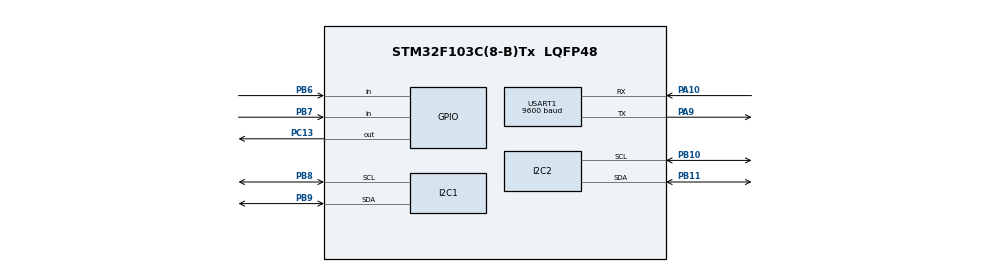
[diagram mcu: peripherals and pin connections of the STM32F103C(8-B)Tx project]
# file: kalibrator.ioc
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Mcu.Family=STM32F1
Mcu.Name=STM32F103C(8-B)Tx
Mcu.Package=LQFP48
NVIC.PriorityGroup=NVIC_PRIORITYGROUP_4
NVIC.USART1_IRQn=true\:3\:0\:true\:false\:true\:true\:true
PA10.Mode=Asynchronous
PA10.Signal=USART1_RX
PA13.Mode=Serial_Wire
PA13.Signal=SYS_JTMS-SWDIO
PA14.Mode=Serial_Wire
PA14.Signal=SYS_JTCK-SWCLK
PA9.Mode=Asynchronous
PA9.Signal=USART1_TX
PB10.Mode=I2C
PB10.Signal=I2C2_SCL
PB11.Mode=I2C
PB11.Signal=I2C2_SDA
PB6.Signal=GPIO_Input
PB7.Signal=GPIO_Input
PB8.Mode=I2C
PB8.Signal=I2C1_SCL
PB9.Mode=I2C
PB9.Signal=I2C1_SDA
PC13-TAMPER-RTC.Signal=GPIO_Output
PD0-OSC_IN.Mode=HSE-External-Oscillator
PD0-OSC_IN.Signal=RCC_OSC_IN
PD1-OSC_OUT.Mode=HSE-External-Oscillator
PD1-OSC_OUT.Signal=RCC_OSC_OUT
ProjectManager.HeapSize=0x200
ProjectManager.StackSize=0x400
ProjectManager.TargetToolchain=STM32CubeIDE
RCC.AHBFreq_Value=60000000
RCC.APB1CLKDivider=RCC_HCLK_DIV2
RCC.APB1Freq_Value=30000000
RCC.APB1TimFreq_Value=60000000
RCC.APB2Freq_Value=60000000
RCC.APB2TimFreq_Value=60000000
RCC.HCLKFreq_Value=60000000
RCC.HSE_Timout=5000
RCC.PLLMUL=RCC_PLL_MUL15
RCC.SYSCLKFreq_VALUE=60000000
RCC.SYSCLKSource=RCC_SYSCLKSOURCE_PLLCLK
RCC.USBFreq_Value=60000000
USART1.BaudRate=9600
USART1.VirtualMode=VM_ASYNC
board=custom

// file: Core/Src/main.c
/* USER CODE BEGIN Header */
/**
 ******************************************************************************
 * @file           : main.c
 * @brief          : Main program body
 ******************************************************************************
 * @attention
 *
 * <h2><center>&copy; Copyright (c) 2020 STMicroelectronics.
 * All rights reserved.</center></h2>
 *
 * This software component is licensed by ST under BSD 3-Clause license,
 * the "License"; You may not use this file except in compliance with the
 * License. You may obtain a copy of the License at:
 *                        opensource.org/licenses/BSD-3-Clause
 *
 ******************************************************************************
 */
/* USER CODE END Header */

#include "main.h"
#include "i2c.h"
#include "usart.h"
#include "gpio.h"

/* USER CODE BEGIN Includes */
#include <string.h>
#include <math.h>
#include <ctype.h>

//#include "usbd_cdc_if.h"

/* USER CODE END Includes */

/* USER CODE BEGIN PD */

#define USER_TEST

#define VALID_COMMAND_LENGTH 10

#define I2C_ADDR_D6 (0b01001100)
#define I2C_ADDR_D5 (0b01001100)
#define I2C_ADDR_D3 (0b01001111)
#define I2C_ADDR_D2 (0b01001101)
#define I2C_ADDR_D1 (0b01001110)

#define I2C_CTRL_A (0b00010000)
#define I2C_CTRL_B (0b00010010)
#define I2C_CTRL_C (0b00010100)
#define I2C_CTRL_D (0b00010110)

#define I2C_PORT_1 (&hi2c1)
#define I2C_PORT_2 (&hi2c2)

/* USER CODE END PD */

/* USER CODE BEGIN PV */
volatile uint8_t command_buffer[50] = { '0', '0', '0', '0', '0', '0', '0', '0',
		'0', '0' };
volatile int command_buffer_pointer = 0;
volatile int command_received = 0;

/* USER CODE END PV */

void SystemClock_Config(void);
/* USER CODE BEGIN PFP */
void STATUS_LED_On(void);
void STATUS_LED_Off(void);
void STATUS_LED_Toggle(void);
int Command_Callback(uint8_t *cmd_in, uint32_t length);
void HAL_UART_RxCpltCallback(UART_HandleTypeDef *huart);

/* USER CODE END PFP */

int main(void) {
	/* USER CODE BEGIN 1 */
	STATUS_LED_Off();

	/* USER CODE END 1 */

	/* MCU Configuration--------------------------------------------------------*/

	/* Reset of all peripherals, Initializes the Flash interface and the Systick. */
	HAL_Init();

	/* USER CODE BEGIN Init */
	HAL_Delay(100);

	/* USER CODE END Init */

	/* Configure the system clock */
	SystemClock_Config();

	/* Initialize all configured peripherals */
	MX_GPIO_Init();
	MX_I2C1_Init();
	MX_I2C2_Init();
	MX_USART1_UART_Init();
	/* USER CODE BEGIN 2 */

	HAL_UART_Receive_IT(&huart1, command_buffer, 1);

	/* Signal to show we're online */
	STATUS_LED_On();

	/* USER CODE END 2 */

	/* Infinite loop */
	/* USER CODE BEGIN WHILE */

	/* ENABLE INTERRUPTS */
	__enable_irq();

	uint8_t num, val;
	uint8_t str[] = "LED_00_000";
	uint8_t matrix[4][5] = {{000, 127, 000, 127, 000},
													{127, 000, 127, 000, 127},
													{000, 127, 000, 127, 000},
													{127, 000, 127, 000, 127}};

	int i, j;

#ifdef USER_TEST
	/* init leds */
	for (i = 0; i < 20; i++) {
		str[4] = i / 10 + '0';
		str[5] = (i % 10) + '0';

		Command_Callback(str, 10);
	}
#endif /* USER_TEST */

	while (1) {
		/* USER CODE END WHILE */

		/* USER CODE BEGIN 3 */
#ifdef USER_TEST
		while (1) {
			for (i = 0; i < 20; i++) {
				str[4] = i / 10 + '0';
				str[5] = (i % 10) + '0';

				for (j = 0; j < 100; j++) {
					str[7] = (j / 100) + '0';
					str[8] = (j % 100 / 10) + '0';
					str[9] = (j % 10) + '0';

					HAL_Delay(4);

					Command_Callback(str, 10);
				}

				for (j = 100; j >= 0; j--) {
					str[7] = (j / 100) + '0';
					str[8] = (j % 100 / 10) + '0';
					str[9] = (j % 10) + '0';

					HAL_Delay(4);

					Command_Callback(str, 10);
				}
			}
		}
	}
#endif /* USER_TEST */

	/* Check if command was received */
	if (command_received) {
		Command_Callback(command_buffer, command_buffer_pointer);

		/* reset the flag */
		command_received = 0;

		/* reset the buffer */
		command_buffer_pointer = 0;
		memset(command_buffer, '0', VALID_COMMAND_LENGTH);
	}

/* USER CODE END 3 */
}

void SystemClock_Config(void) {
RCC_OscInitTypeDef RCC_OscInitStruct = { 0 };
RCC_ClkInitTypeDef RCC_ClkInitStruct = { 0 };

/** Initializes the CPU, AHB and APB busses clocks
 */
RCC_OscInitStruct.OscillatorType = RCC_OSCILLATORTYPE_HSI;
RCC_OscInitStruct.HSIState = RCC_HSI_ON;
RCC_OscInitStruct.HSICalibrationValue = RCC_HSICALIBRATION_DEFAULT;
RCC_OscInitStruct.PLL.PLLState = RCC_PLL_ON;
RCC_OscInitStruct.PLL.PLLSource = RCC_PLLSOURCE_HSI_DIV2;
RCC_OscInitStruct.PLL.PLLMUL = RCC_PLL_MUL15;
if (HAL_RCC_OscConfig(&RCC_OscInitStruct) != HAL_OK) {
	Error_Handler();
}
/** Initializes the CPU, AHB and APB busses clocks
 */
RCC_ClkInitStruct.ClockType = RCC_CLOCKTYPE_HCLK | RCC_CLOCKTYPE_SYSCLK
		| RCC_CLOCKTYPE_PCLK1 | RCC_CLOCKTYPE_PCLK2;
RCC_ClkInitStruct.SYSCLKSource = RCC_SYSCLKSOURCE_PLLCLK;
RCC_ClkInitStruct.AHBCLKDivider = RCC_SYSCLK_DIV1;
RCC_ClkInitStruct.APB1CLKDivider = RCC_HCLK_DIV2;
RCC_ClkInitStruct.APB2CLKDivider = RCC_HCLK_DIV1;

if (HAL_RCC_ClockConfig(&RCC_ClkInitStruct, FLASH_LATENCY_2) != HAL_OK) {
	Error_Handler();
}
}

/* USER CODE BEGIN 4 */
/* Turn on Status LED */
void STATUS_LED_On(void) {
HAL_GPIO_WritePin(GPIOC, GPIO_PIN_13, GPIO_PIN_SET);

return;
}

/* Turn off Status LED */
void STATUS_LED_Off(void) {
HAL_GPIO_WritePin(GPIOC, GPIO_PIN_13, GPIO_PIN_RESET);

return;
}

/* Toggle Status LED */
void STATUS_LED_Toggle(void) {
HAL_GPIO_TogglePin(GPIOC, GPIO_PIN_13);

return;
}

/* Status LED blink Success */
void STATUS_LED_Blink_Success(void) {
/*
 STATUS_LED_Toggle();
 HAL_Delay(100);
 STATUS_LED_Toggle();
 HAL_Delay(100);
 STATUS_LED_Toggle();
 HAL_Delay(100);
 STATUS_LED_Toggle();
 HAL_Delay(100);
 */
}

/* Status LED blink Failure */
void STATUS_LED_Blink_Failure(void) {
/*
 STATUS_LED_Toggle();
 HAL_Delay(100);
 STATUS_LED_Toggle();
 HAL_Delay(100);
 STATUS_LED_Toggle();
 HAL_Delay(100);
 STATUS_LED_Toggle();
 HAL_Delay(100);
 STATUS_LED_Toggle();
 HAL_Delay(100);
 STATUS_LED_Toggle();
 HAL_Delay(100);
 */

}

/* This Callback function is called when data from USB is received */
void CDC_ReceiveCallback_FS(uint8_t *Buf, uint32_t Len) {
/* Set the flag only if we recieved valid number of chars */
if (Len == VALID_COMMAND_LENGTH) {
	memcpy(command_buffer, Buf, Len);
	command_buffer_pointer = Len;
	command_received = 1;
}
}

void HAL_UART_RxCpltCallback(UART_HandleTypeDef *huart) {
if (huart->Instance == USART1) {
	command_buffer_pointer++;

	/* If the beginning of the command buffer is valid */
	if (command_buffer[0] == 'L') {
		/* Don't overrun buffer */
		if (command_buffer_pointer < VALID_COMMAND_LENGTH) {

			HAL_UART_Receive_IT(huart, command_buffer + command_buffer_pointer, 1);

			/* If the buffer is full */
		} else {
			/* set the flag */
			command_received = 1;

			HAL_UART_Receive_IT(huart, command_buffer, 1);
		}
		/* if the beginning of the command buffer is invalid */
	} else {
		/* clear the buffer */
		command_buffer_pointer = 0;
		HAL_UART_Receive_IT(huart, command_buffer, 1);
	}
}

return;
}

int Command_extract_info(uint8_t *string, uint32_t length, uint32_t *led_id,
	uint32_t *led_val) {
if (length < 10) {
	return -1; /* Failure: command too short */
}

/* Check if command has defined structure */
if (string[0] != 'L'||
string[1] != 'E' ||
string[2] != 'D' ||
string[3] != '_' ||
! isdigit(string[4]) ||
! isdigit(string[5]) ||
string[6] != '_' ||
! isdigit(string[7]) ||
! isdigit(string[8]) ||
! isdigit(string[9])
) {

	return -1; /* Failure: wrong command */
}

/* String to led id (int) */
*led_id = (string[4] - '0') * 10 + (string[5] - '0');

/* String to led current (int)*/
*led_val = 100 * (string[7] - '0') + 10 * (string[8] - '0')
		+ 1 * (string[9] - '0');

/* Set upper bound on LED current value */
if (*led_val > 255) {
	*led_val = 255;
}

/* Set upper bound on LEDs */
if (*led_id >= 20) {

	return -1; /* Failure: not so many LEDs available */
}

/* return Success */
return 0;
}

int Command_Callback(uint8_t *cmd_in, uint32_t length) {
uint32_t led_id;
uint32_t led_val;
uint8_t dac_data[3];

/* Command format = LED_XX_ZZZ */

if (Command_extract_info(cmd_in, length, &led_id, &led_val) != 0) {
	/* Failure: can't extract led_id and led_val from input command */
	STATUS_LED_Blink_Failure();
	return -1;
}

/* DAC data setup */
dac_data[0] = 0b00010000; /* control byte */
dac_data[1] = led_val; /* msb byte */
dac_data[2] = 0b00000000; /* lsb byte (dont care byte) */

/* Based on LED Id send command to certain DAC (one of four available) */
switch (led_id) {
case 0:
	dac_data[0] = I2C_CTRL_B;
	HAL_I2C_Master_Transmit(I2C_PORT_1, I2C_ADDR_D6 << 1, dac_data, 3, 100);
	break;
case 1:
	dac_data[0] = I2C_CTRL_C;
	HAL_I2C_Master_Transmit(I2C_PORT_1, I2C_ADDR_D6 << 1, dac_data, 3, 100);
	break;
case 2:
	dac_data[0] = I2C_CTRL_D;
	HAL_I2C_Master_Transmit(I2C_PORT_1, I2C_ADDR_D6 << 1, dac_data, 3, 100);
	break;
case 3:
	dac_data[0] = I2C_CTRL_A;
	HAL_I2C_Master_Transmit(I2C_PORT_1, I2C_ADDR_D6 << 1, dac_data, 3, 100);
	break;
case 4:
	dac_data[0] = I2C_CTRL_A;
	HAL_I2C_Master_Transmit(I2C_PORT_2, I2C_ADDR_D2 << 1, dac_data, 3, 100);
	break;
case 5:
	dac_data[0] = I2C_CTRL_C;
	HAL_I2C_Master_Transmit(I2C_PORT_2, I2C_ADDR_D2 << 1, dac_data, 3, 100);
	break;
case 6:
	dac_data[0] = I2C_CTRL_D;
	HAL_I2C_Master_Transmit(I2C_PORT_2, I2C_ADDR_D2 << 1, dac_data, 3, 100);
	break;
case 7:
	dac_data[0] = I2C_CTRL_A;
	HAL_I2C_Master_Transmit(I2C_PORT_2, I2C_ADDR_D5 << 1, dac_data, 3, 100);
	break;
case 8:
	dac_data[0] = I2C_CTRL_B;
	HAL_I2C_Master_Transmit(I2C_PORT_2, I2C_ADDR_D2 << 1, dac_data, 3, 100);
	break;
case 9:
	dac_data[0] = I2C_CTRL_B;
	HAL_I2C_Master_Transmit(I2C_PORT_2, I2C_ADDR_D5 << 1, dac_data, 3, 100);
	break;
case 10:
	dac_data[0] = I2C_CTRL_A;
	HAL_I2C_Master_Transmit(I2C_PORT_2, I2C_ADDR_D3 << 1, dac_data, 3, 100);
	break;
case 11:
	dac_data[0] = I2C_CTRL_D;
	HAL_I2C_Master_Transmit(I2C_PORT_2, I2C_ADDR_D3 << 1, dac_data, 3, 100);
	break;
case 12:
	dac_data[0] = I2C_CTRL_C;
	HAL_I2C_Master_Transmit(I2C_PORT_2, I2C_ADDR_D3 << 1, dac_data, 3, 100);
	break;
case 13:
	dac_data[0] = I2C_CTRL_C;
	HAL_I2C_Master_Transmit(I2C_PORT_2, I2C_ADDR_D5 << 1, dac_data, 3, 100);
	break;
case 14:
	dac_data[0] = I2C_CTRL_D;
	HAL_I2C_Master_Transmit(I2C_PORT_2, I2C_ADDR_D5 << 1, dac_data, 3, 100);
	break;
case 15:
	dac_data[0] = I2C_CTRL_B;
	HAL_I2C_Master_Transmit(I2C_PORT_2, I2C_ADDR_D3 << 1, dac_data, 3, 100);
	break;
case 16:
	dac_data[0] = I2C_CTRL_A;
	HAL_I2C_Master_Transmit(I2C_PORT_2, I2C_ADDR_D1 << 1, dac_data, 3, 100);
	break;
case 17:
	dac_data[0] = I2C_CTRL_D;
	HAL_I2C_Master_Transmit(I2C_PORT_2, I2C_ADDR_D1 << 1, dac_data, 3, 100);
	break;
case 18:
	dac_data[0] = I2C_CTRL_C;
	HAL_I2C_Master_Transmit(I2C_PORT_2, I2C_ADDR_D1 << 1, dac_data, 3, 100);
	break;
case 19:
	dac_data[0] = I2C_CTRL_B;
	HAL_I2C_Master_Transmit(I2C_PORT_2, I2C_ADDR_D1 << 1, dac_data, 3, 100);
	break;
}

/* Return Success */
STATUS_LED_Blink_Success();
return 0;
}

/* USER CODE END 4 */

void Error_Handler(void) {
}

/************************ (C) COPYRIGHT STMicroelectronics *****END OF FILE****/
